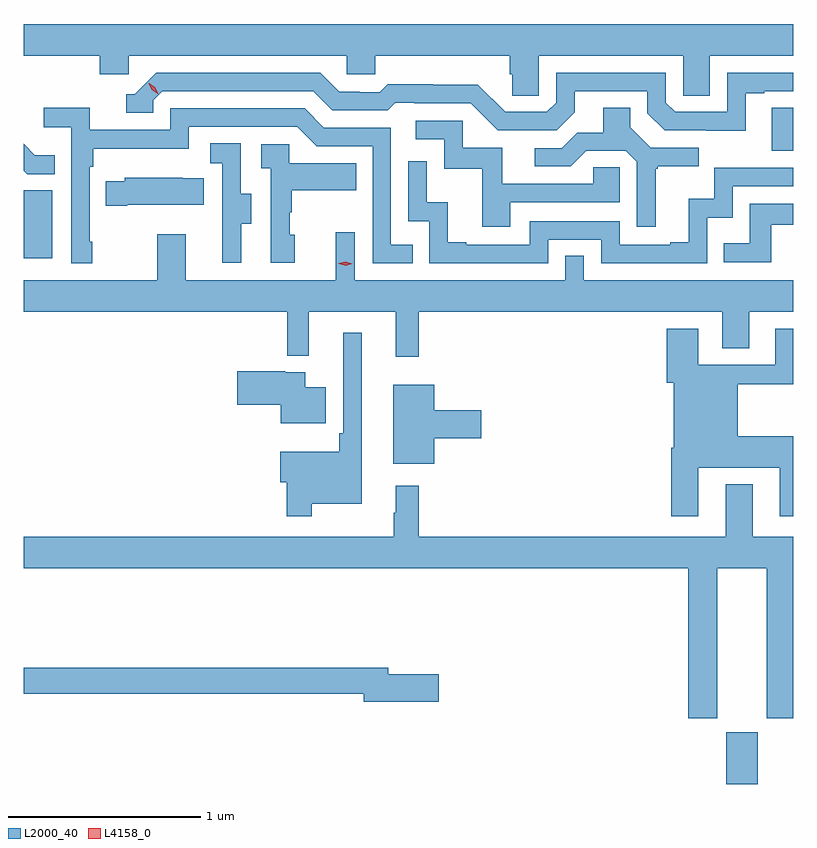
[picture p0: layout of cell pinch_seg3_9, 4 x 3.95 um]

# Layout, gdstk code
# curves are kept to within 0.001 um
import gdstk
lib = gdstk.Library(unit=1e-6, precision=1e-09)
def R(c, l, rs):  # rectangles x0, y0, x1, y1
    for r in rs: c.add(gdstk.rectangle(r[:2], r[2:], *l))
def P(c, l, *ps):  # polygons
    for p in ps: c.add(gdstk.Polygon(p, *l))
L2000_40 = (2000, 40)
L4158_0 = (4158, 0)

pinch_seg3_9 = lib.new_cell('pinch_seg3_9')
R(pinch_seg3_9, L2000_40, [(1128.71,737.091,1128.874,737.361), (1125.059,739.824,1125.208,740.175), (1128.947,740.382,1129.059,740.606)])
P(pinch_seg3_9, L2000_40, [(1127.736,740.876),(1128.486,740.876),(1128.486,740.668),(1128.625,740.668),(1128.625,740.876),(1129.059,740.876),(1129.059,741.04),(1125.059,741.04),(1125.059,740.876),(1125.455,740.876),(1125.455,740.778),(1125.606,740.778),(1125.606,740.876),(1126.737,740.876),(1126.737,740.778),(1126.887,740.778),(1126.887,740.876),(1127.585,740.876),(1127.585,740.778),(1127.599,740.778),(1127.599,740.668),(1127.736,740.668)],
  [(1128.811,740.679),(1128.907,740.679),(1128.907,740.691),(1129.059,740.691),(1129.059,740.787),(1128.714,740.787),(1128.714,740.583),(1128.444,740.583),(1128.396,740.631),(1128.396,740.787),(1127.826,740.787),(1127.826,740.631),(1127.778,740.583),(1127.562,740.583),(1127.42,740.725),(1127.184,740.725),(1127.184,740.728),(1126.951,740.728),(1126.909,740.685),(1126.806,740.685),(1126.806,740.688),(1126.699,740.688),(1126.6,740.787),(1125.747,740.787),(1125.636,740.676),(1125.593,740.676),(1125.593,740.58),(1125.732,740.58),(1125.732,740.643),(1125.78,740.691),(1126.563,740.691),(1126.662,740.592),(1126.951,740.592),(1126.99,740.631),(1127.089,740.631),(1127.089,740.628),(1127.382,740.628),(1127.523,740.487),(1127.829,740.487),(1127.923,740.581),(1127.923,740.691),(1128.3,740.691),(1128.3,740.577),(1128.39,740.487),(1128.811,740.486)],
  [(1125.415,739.909),(1125.402,739.909),(1125.402,740.297),(1125.422,740.297),(1125.422,740.393),(1125.918,740.393),(1125.918,740.505),(1126.482,740.505),(1126.581,740.406),(1126.872,740.406),(1126.872,739.797),(1127.081,739.797),(1127.081,739.893),(1126.968,739.893),(1126.968,740.502),(1126.618,740.502),(1126.519,740.601),(1125.822,740.601),(1125.822,740.49),(1125.404,740.49),(1125.404,740.606),(1125.165,740.606),(1125.165,740.504),(1125.306,740.504),(1125.306,739.797),(1125.415,739.797)],
  [(1128.343,740.289),(1128.355,740.289),(1128.355,740.3),(1128.568,740.3),(1128.568,740.397),(1128.318,740.397),(1128.211,740.504),(1128.211,740.606),(1128.071,740.606),(1128.071,740.474),(1127.936,740.474),(1127.856,740.394),(1127.715,740.394),(1127.715,740.301),(1127.902,740.301),(1127.983,740.382),(1128.189,740.382),(1128.246,740.325),(1128.246,739.986),(1128.343,739.986)],
  [(1127.587,740.115),(1128.156,740.115),(1128.156,740.295),(1128.019,740.295),(1128.019,740.211),(1127.545,740.211),(1127.545,740.397),(1127.34,740.397),(1127.34,740.538),(1127.097,740.538),(1127.097,740.442),(1127.244,740.442),(1127.244,740.289),(1127.443,740.289),(1127.443,739.986),(1127.587,739.986)],
  [(1126.189,740.002),(1126.243,740.002),(1126.243,740.157),(1126.188,740.157),(1126.188,740.42),(1126.029,740.42),(1126.029,740.317),(1126.092,740.317),(1126.092,740.013),(1126.091,740.013),(1126.091,739.8),(1126.189,739.8)],
  [(1125.221,740.359),(1125.117,740.359),(1125.059,740.417),(1125.059,740.278),(1125.077,740.26),(1125.221,740.26)],
  [(1126.468,739.944),(1126.443,739.944),(1126.443,740.063),(1126.453,740.063),(1126.453,740.177),(1126.787,740.177),(1126.787,740.317),(1126.44,740.317),(1126.44,740.415),(1126.293,740.415),(1126.293,740.291),(1126.344,740.291),(1126.344,739.8),(1126.468,739.8)],
  [(1127.784,739.92),(1128.06,739.92),(1128.06,739.797),(1128.612,739.797),(1128.612,740.033),(1128.744,740.033),(1128.744,740.196),(1129.059,740.196),(1129.059,740.292),(1128.648,740.292),(1128.648,740.131),(1128.515,740.131),(1128.515,739.906),(1128.419,739.906),(1128.419,739.893),(1128.156,739.893),(1128.156,740.016),(1127.688,740.016),(1127.688,739.893),(1127.359,739.893),(1127.359,739.906),(1127.264,739.906),(1127.264,740.114),(1127.154,740.114),(1127.154,740.326),(1127.058,740.326),(1127.058,740.016),(1127.166,740.016),(1127.166,739.797),(1127.784,739.797)],
  [(1125.598,740.102),(1125.995,740.102),(1125.995,740.239),(1125.887,740.239),(1125.887,740.242),(1125.585,740.242),(1125.585,740.224),(1125.487,740.224),(1125.487,740.095),(1125.598,740.095)],
  [(1128.943,739.998),(1129.059,739.998),(1129.059,740.106),(1128.832,740.106),(1128.832,739.9),(1128.697,739.9),(1128.697,739.803),(1128.943,739.803)],
  [(1127.111,739.544),(1128.689,739.544),(1128.689,739.354),(1128.829,739.354),(1128.829,739.544),(1129.059,739.544),(1129.059,739.708),(1127.97,739.708),(1127.97,739.835),(1127.874,739.835),(1127.874,739.708),(1126.779,739.708),(1126.779,739.957),(1126.682,739.957),(1126.682,739.708),(1125.901,739.708),(1125.901,739.948),(1125.754,739.948),(1125.754,739.708),(1125.059,739.708),(1125.059,739.544),(1126.428,739.544),(1126.428,739.316),(1126.541,739.316),(1126.541,739.544),(1126.994,739.544),(1126.994,739.311),(1127.111,739.311)],
  [(1128.565,738.734),(1128.989,738.734),(1128.989,738.483),(1129.059,738.483),(1129.059,738.898),(1128.769,738.898),(1128.769,739.168),(1129.059,739.168),(1129.059,739.456),(1128.965,739.456),(1128.965,739.269),(1128.565,739.269),(1128.565,739.456),(1128.401,739.456),(1128.401,739.176),(1128.437,739.176),(1128.437,738.838),(1128.425,738.838),(1128.425,738.483),(1128.565,738.483)],
  [(1126.555,738.548),(1126.816,738.548),(1126.816,739.435),(1126.719,739.435),(1126.719,738.913),(1126.699,738.913),(1126.699,738.817),(1126.392,738.817),(1126.392,738.659),(1126.426,738.659),(1126.426,738.483),(1126.555,738.483)],
  [(1126.63,739.153),(1126.522,739.153),(1126.522,739.231),(1126.418,739.231),(1126.418,739.236),(1126.17,739.236),(1126.17,739.061),(1126.394,739.061),(1126.394,738.965),(1126.63,738.965)],
  [(1127.194,738.887),(1127.437,738.887),(1127.437,739.034),(1127.194,739.034),(1127.194,739.165),(1126.979,739.165),(1126.979,738.755),(1127.194,738.755)],
  [(1128.664,738.212),(1128.92,738.212),(1128.92,737.433),(1129.059,737.433),(1129.059,738.376),(1128.847,738.376),(1128.847,738.649),(1128.707,738.649),(1128.707,738.376),(1127.111,738.376),(1127.111,738.64),(1126.994,738.64),(1126.994,738.5),(1126.983,738.5),(1126.983,738.376),(1125.059,738.376),(1125.059,738.212),(1128.512,738.212),(1128.512,737.433),(1128.664,737.433)],
  [(1127.215,737.66),(1126.954,737.66),(1126.954,737.696),(1125.059,737.696),(1125.059,737.56),(1126.826,737.56),(1126.826,737.518),(1127.215,737.518)])
P(pinch_seg3_9, L4158_0, [(1126.732,739.785),(1126.696,739.795),(1126.696,739.795),(1126.696,739.796),(1126.732,739.805),(1126.767,739.795),(1126.767,739.794),(1126.767,739.794)],
  [(1125.757,740.678),(1125.726,740.698),(1125.71,740.73),(1125.71,740.731),(1125.711,740.731),(1125.741,740.711),(1125.758,740.678),(1125.758,740.678)])

lib.write_gds('pinch_seg3_9.gds')
